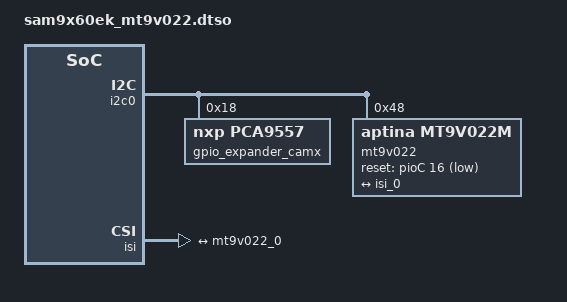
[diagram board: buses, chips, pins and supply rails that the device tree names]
// SPDX-License-Identifier: (GPL-2.0+ OR MIT)
/*
 * sam9x60ek_mt9v022.dtso - Device Tree file for SAM9X60-EK board
 * overlay blob for Image Sensor Controller Micron mt9v022 sensor.
 * This also includes support for board CAMx-MT9V022-EB_REVA with gpio expander
 * and programmable bit shift for ISI data lines alignment.
 * This overlay provides 8 bits lanes from the sensor to ISI:
 * ISI_D0..ISI_D7 to Y2..Y9
 *
 * Copyright (C) 2019 Microchip Technology, Inc. and its subsidiaries
 * Author: Eugen Hristev <eugen.hristev@microchip.com>
 *
 */
/dts-v1/;
/plugin/;

#include <dt-bindings/clock/at91.h>
#include <dt-bindings/gpio/gpio.h>
#include <dt-bindings/pinctrl/at91.h>

&i2c0 {
	#address-cells = <1>;
	#size-cells = <0>;

	gpio_expander_camx: gpio@18 {
		compatible = "nxp,pca9557";
		reg = <0x18>;
		#gpio-cells = <2>;
		ngpios = <8>;
		gpio-controller;
		gpio-line-names =
			"OE_UVC", "OE_8B_Y2_Y9", "OE_10B_Y0_Y1", "OE_10B_Y2_Y9",
			"OE_12B_Y2_Y9", "EXPOSURE", "GREEN", "RED";

		status = "okay";

		/* inactive */
		oe_uvc {
			gpio-hog;
			gpios = <0 GPIO_ACTIVE_HIGH>;
			output-high;
			line-name = "OE_UVC";
		};
		/* active */
		oe_8b_y2_y9 {
			gpio-hog;
			gpios = <1 GPIO_ACTIVE_HIGH>;
			output-low;
			line-name = "OE_8B_Y2_Y9";
		};
		/* inactive */
		oe_10b_y0_y1 {
			gpio-hog;
			gpios = <2 GPIO_ACTIVE_HIGH>;
			output-high;
			line-name = "OE_10B_Y0_Y1";
		};
		/* inactive */
		oe_12b_y2_y9 {
			gpio-hog;
			gpios = <4 GPIO_ACTIVE_HIGH>;
			output-high;
			line-name = "OE_12B_Y2_Y9";
		};
		/* inactive */
		red {
			gpio-hog;
			gpios = <7 GPIO_ACTIVE_HIGH>;
			output-low;
			line-name = "RED";
		};
		/* active */
		green {
			gpio-hog;
			gpios = <6 GPIO_ACTIVE_HIGH>;
			output-high;
			line-name = "GREEN";
		};
	};

	mt9v022: camera@48 {
		compatible = "aptina,mt9v022m";
		reg = <0x48>;
		pinctrl-names = "default";
		pinctrl-0 = <&pinctrl_pck0_as_isi_mck &pinctrl_sensor_reset>;
		clocks = <&pmc PMC_TYPE_SYSTEM 8>;
		clock-names = "xvclk";
		assigned-clocks = <&pmc PMC_TYPE_SYSTEM 8>;
		assigned-clock-rates = <24000000>;
		reset-gpios = <&pioC 16 GPIO_ACTIVE_LOW>;

		port {
			mt9v022_0: endpoint {
				remote-endpoint = <&isi_0>;
				bus-width = <10>;
				hsync-active = <1>;
				vsync-active = <1>;
				link-frequencies = /bits/ 64
                                        <24000000 13000000 26600000 27000000>;
				pclk-sample = <1>;
			};
		};
	};
};

&isi {
	pinctrl-0 = <&pinctrl_isi_base &pinctrl_isi_data_0_7 &pinctrl_isi_data_8_11>;

	port {
		isi_0: endpoint@0 {
			remote-endpoint = <&mt9v022_0>;
			bus-width = <10>;
			hsync-active = <1>;
			vsync-active = <1>;
		};
	};
};

&pinctrl {
	camera_sensor {
		pinctrl_pck0_as_isi_mck: pck0_as_isi_mck-0 {
			atmel,pins =
				<AT91_PIOC 15 AT91_PERIPH_C AT91_PINCTRL_NONE>; /* ISI_MCK */
		};

		pinctrl_sensor_reset: sensor_reset-0 {
			atmel,pins =
				<AT91_PIOC 16 AT91_PERIPH_GPIO AT91_PINCTRL_NONE>;
		};
	};
};

